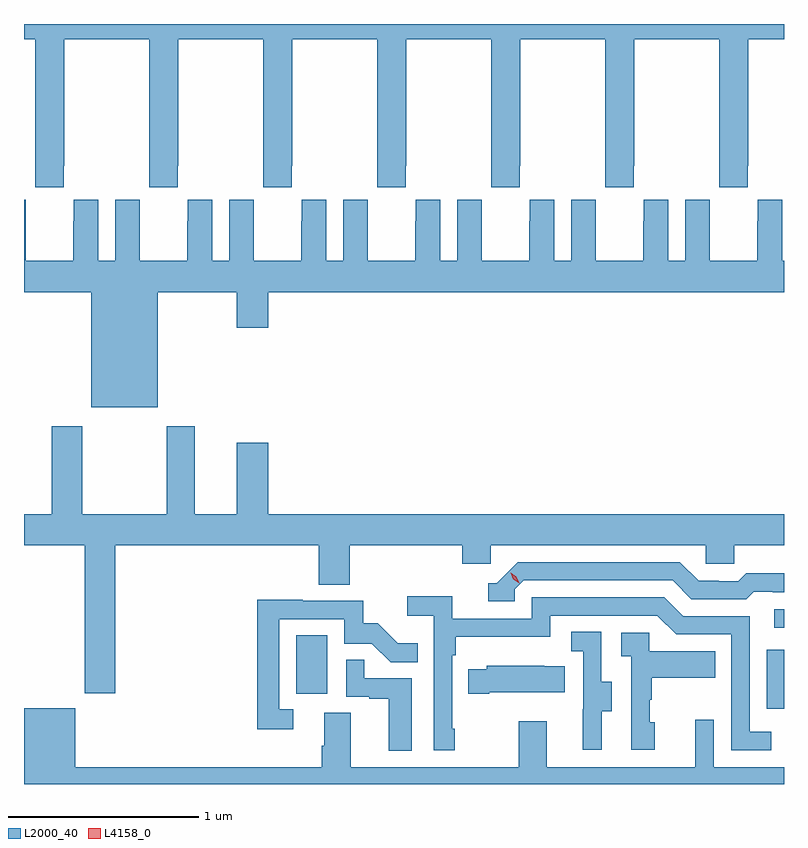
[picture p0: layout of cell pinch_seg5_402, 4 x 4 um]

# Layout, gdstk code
import gdstk
lib = gdstk.Library(unit=1e-6, precision=1e-09)
def R(c, l, rs):  # rectangles x0, y0, x1, y1
    for r in rs: c.add(gdstk.rectangle(r[:2], r[2:], *l))
def P(c, l, *ps):  # polygons
    for p in ps: c.add(gdstk.Polygon(p, *l))
L2000_40 = (2000, 40)
L4158_0 = (4158, 0)

pinch_seg5_402 = lib.new_cell('pinch_seg5_402')
R(pinch_seg5_402, L2000_40, [(959.004,867.888,959.095,868.198), (956.528,867.966,956.692,868.273), (959.043,868.314,959.095,868.41)])
P(pinch_seg5_402, L2000_40, [(955.753,870.745),(955.755,870.745),(955.755,870.633),(955.905,870.633),(955.905,870.745),(955.908,870.745),(955.908,871.412),(956.353,871.412),(956.353,870.745),(956.355,870.745),(956.355,870.633),(956.505,870.633),(956.505,870.745),(956.508,870.745),(956.508,871.412),(956.953,871.412),(956.953,870.745),(956.955,870.745),(956.955,870.633),(957.105,870.633),(957.105,870.745),(957.108,870.745),(957.108,871.412),(957.553,871.412),(957.553,870.745),(957.555,870.745),(957.555,870.633),(957.705,870.633),(957.705,870.745),(957.708,870.745),(957.708,871.412),(958.153,871.412),(958.153,870.745),(958.155,870.745),(958.155,870.633),(958.305,870.633),(958.305,870.745),(958.308,870.745),(958.308,871.412),(958.753,871.412),(958.753,870.745),(958.755,870.745),(958.755,870.633),(958.905,870.633),(958.905,870.745),(958.908,870.745),(958.908,871.412),(959.095,871.412),(959.095,871.491),(955.095,871.491),(955.095,871.412),(955.153,871.412),(955.153,870.745),(955.155,870.745),(955.155,870.633),(955.305,870.633),(955.305,870.745),(955.308,870.745),(955.308,871.412),(955.753,871.412)],
  [(956.305,870.452),(956.304,870.452),(956.304,870.565),(956.174,870.565),(956.174,870.244),(956.086,870.244),(956.086,870.565),(955.956,870.565),(955.956,870.452),(955.955,870.452),(955.955,870.244),(955.705,870.244),(955.705,870.452),(955.704,870.452),(955.704,870.565),(955.574,870.565),(955.574,870.244),(955.486,870.244),(955.486,870.565),(955.356,870.565),(955.356,870.452),(955.355,870.452),(955.355,870.244),(955.105,870.244),(955.105,870.452),(955.104,870.452),(955.104,870.565),(955.095,870.565),(955.095,870.08),(955.448,870.08),(955.448,869.474),(955.798,869.474),(955.798,870.08),(956.216,870.08),(956.216,869.892),(956.38,869.892),(956.38,870.08),(959.095,870.08),(959.095,870.244),(959.086,870.244),(959.086,870.565),(958.956,870.565),(958.956,870.452),(958.955,870.452),(958.955,870.244),(958.705,870.244),(958.705,870.452),(958.704,870.452),(958.704,870.565),(958.574,870.565),(958.574,870.244),(958.486,870.244),(958.486,870.565),(958.356,870.565),(958.356,870.452),(958.355,870.452),(958.355,870.244),(958.105,870.244),(958.105,870.452),(958.104,870.452),(958.104,870.565),(957.974,870.565),(957.974,870.244),(957.886,870.244),(957.886,870.565),(957.756,870.565),(957.756,870.452),(957.755,870.452),(957.755,870.244),(957.505,870.244),(957.505,870.452),(957.504,870.452),(957.504,870.565),(957.374,870.565),(957.374,870.244),(957.286,870.244),(957.286,870.565),(957.156,870.565),(957.156,870.452),(957.155,870.452),(957.155,870.244),(956.905,870.244),(956.905,870.452),(956.904,870.452),(956.904,870.565),(956.774,870.565),(956.774,870.244),(956.686,870.244),(956.686,870.565),(956.556,870.565),(956.556,870.452),(956.555,870.452),(956.555,870.244),(956.305,870.244)],
  [(955.574,868.748),(956.645,868.748),(956.645,868.54),(956.81,868.54),(956.81,868.748),(957.401,868.748),(957.401,868.65),(957.552,868.65),(957.552,868.748),(958.683,868.748),(958.683,868.65),(958.833,868.65),(958.833,868.748),(959.095,868.748),(959.095,868.912),(956.38,868.912),(956.38,869.287),(956.216,869.287),(956.216,868.912),(955.993,868.912),(955.993,869.374),(955.846,869.374),(955.846,868.912),(955.401,868.912),(955.401,869.374),(955.241,869.374),(955.241,868.912),(955.095,868.912),(955.095,868.748),(955.414,868.748),(955.414,867.969),(955.574,867.969)],
  [(957.678,868.515),(957.726,868.563),(958.509,868.563),(958.608,868.464),(958.897,868.464),(958.936,868.503),(959.035,868.503),(959.035,868.5),(959.095,868.5),(959.095,868.6),(958.897,868.6),(958.855,868.557),(958.752,868.557),(958.752,868.56),(958.645,868.56),(958.546,868.659),(957.693,868.659),(957.582,868.548),(957.539,868.548),(957.539,868.452),(957.678,868.452)],
  [(957.361,867.781),(957.348,867.781),(957.348,868.169),(957.368,868.169),(957.368,868.265),(957.864,868.265),(957.864,868.377),(958.428,868.377),(958.527,868.278),(958.818,868.278),(958.818,867.669),(959.027,867.669),(959.027,867.765),(958.914,867.765),(958.914,868.374),(958.564,868.374),(958.465,868.473),(957.768,868.473),(957.768,868.362),(957.35,868.362),(957.35,868.478),(957.111,868.478),(957.111,868.376),(957.252,868.376),(957.252,867.669),(957.361,867.669)],
  [(956.512,867.885),(956.439,867.885),(956.439,868.359),(956.781,868.359),(956.781,868.23),(956.926,868.23),(957.024,868.132),(957.167,868.132),(957.167,868.231),(957.063,868.231),(956.956,868.338),(956.88,868.338),(956.88,868.455),(956.561,868.455),(956.561,868.46),(956.323,868.46),(956.323,867.78),(956.512,867.78)],
  [(958.135,867.874),(958.189,867.874),(958.189,868.029),(958.134,868.029),(958.134,868.292),(957.975,868.292),(957.975,868.189),(958.038,868.189),(958.038,867.885),(958.037,867.885),(958.037,867.672),(958.135,867.672)],
  [(958.414,867.816),(958.389,867.816),(958.389,867.935),(958.399,867.935),(958.399,868.049),(958.733,868.049),(958.733,868.189),(958.386,868.189),(958.386,868.287),(958.239,868.287),(958.239,868.163),(958.29,868.163),(958.29,867.672),(958.414,867.672)],
  [(957.136,868.047),(956.885,868.047),(956.885,868.145),(956.79,868.145),(956.79,867.951),(956.911,867.951),(956.911,867.939),(957.014,867.939),(957.014,867.665),(957.136,867.665)],
  [(957.544,867.974),(957.941,867.974),(957.941,868.111),(957.833,868.111),(957.833,868.114),(957.531,868.114),(957.531,868.096),(957.433,868.096),(957.433,867.967),(957.544,867.967)],
  [(959.095,867.58),(958.725,867.58),(958.725,867.829),(958.628,867.829),(958.628,867.58),(957.847,867.58),(957.847,867.82),(957.7,867.82),(957.7,867.58),(956.815,867.58),(956.815,867.866),(956.675,867.866),(956.675,867.692),(956.663,867.692),(956.663,867.58),(955.366,867.58),(955.366,867.889),(955.095,867.889),(955.095,867.491),(959.095,867.491)])
P(pinch_seg5_402, L4158_0, [(957.701,868.548),(957.671,868.569),(957.656,868.602),(957.656,868.602),(957.656,868.602),(957.686,868.582),(957.701,868.549),(957.701,868.548)])

lib.write_gds('pinch_seg5_402.gds')
